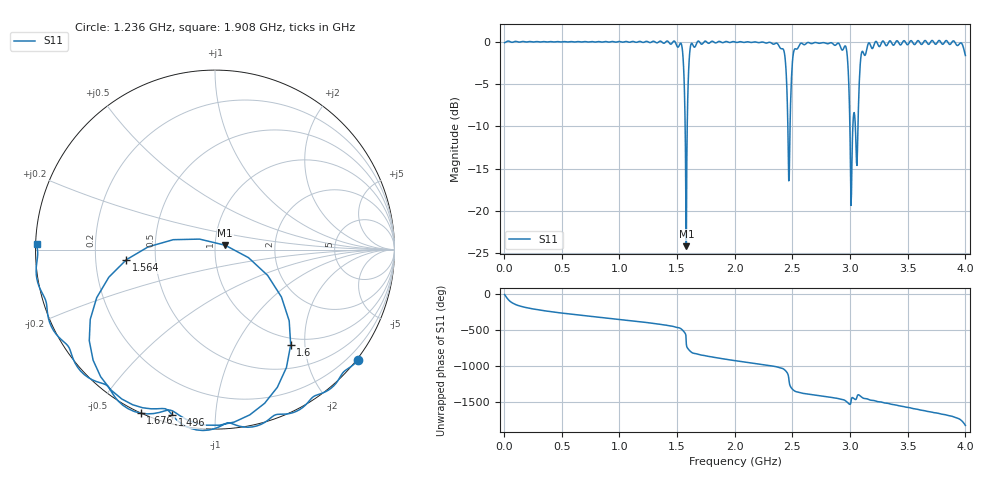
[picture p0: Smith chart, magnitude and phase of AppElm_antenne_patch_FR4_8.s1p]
! TOUCHSTONE file generated by CST MICROWAVE STUDIO
! Date and time: Tue Jun 14 14:10:51 2022
! Project name: AppElm_antenne_patch_FR4.cst
! Parameters = {L=45; W=58.5; e=0.035; h=1.6; lambda=0.190476; ls=120; w0=2.54; w1=0.847; ws=132; y0=18; y1=23.8}
! Header version: 2018
! Port assignment regex: !\s*Touchstone port\s*([0-9]+)\s*=\s*(CST MWS port|CST DS port)\s*([0-9]+|Zmin|Zmax)\s*\(\"(.*)\"\)(\s*mode\s*([0-9]+))?.*
! Touchstone port assignment:
! Touchstone port 1 = CST MWS port 1 ("")
# GHz S MA R 50
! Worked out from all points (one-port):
!   1000 points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, 4 MHz to 4 GHz, reference 50 ohm
!   lowest |S11| = -24.1 dB at 1.58 GHz (marker M1), VSWR 1.13, Z = 56 + j2.73 ohm
!   |S11| at or under -10 dB: 1.569 GHz to 1.588 GHz (18.28 MHz wide, 1.16 % of centre); 2.998 GHz to 3.024 GHz (25.95 MHz wide, 0.862 % of centre); 3.045 GHz to 3.068 GHz (22.94 MHz wide, 0.751 % of centre)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
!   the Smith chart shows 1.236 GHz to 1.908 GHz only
!   S11 on the Smith chart (normalised r, x): 1.236 GHz: -0.03, -2.92; 1.496 GHz: 0.04, -0.77; 1.564 GHz: 0.34, -0.05; 1.6 GHz: 0.88, -1.72; 1.676 GHz: -0.00, -0.64; 1.908 GHz: 0.00, +0.01
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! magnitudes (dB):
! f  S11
! 4 MHz  -0.1
! 504 MHz  0.0
! 1.004 GHz  0.0
! 1.236 GHz  0.1
! 1.496 GHz  -0.4
! 1.504 GHz  -0.6
! 1.544 GHz  -0.8
! 1.564 GHz  -6.1
! 1.58 GHz  -24.1
! 1.6 GHz  -3.4
! 1.62 GHz  -0.3
! 1.676 GHz  0.0
! 1.908 GHz  -0.1
! 2.004 GHz  0.0
! 2.412 GHz  -0.8
! 2.436 GHz  -1.9
! 2.468 GHz  -16.4
! 2.484 GHz  -7.3
! 2.504 GHz  -1.8
! 2.576 GHz  -0.2
! 2.952 GHz  -0.6
! 2.976 GHz  -1.8
! 3.004 GHz  -15.3
! 3.06 GHz  -14.6
! 3.092 GHz  -2.0
! 3.112 GHz  -1.2
! 3.504 GHz  -0.3
! 4 GHz  -1.6
